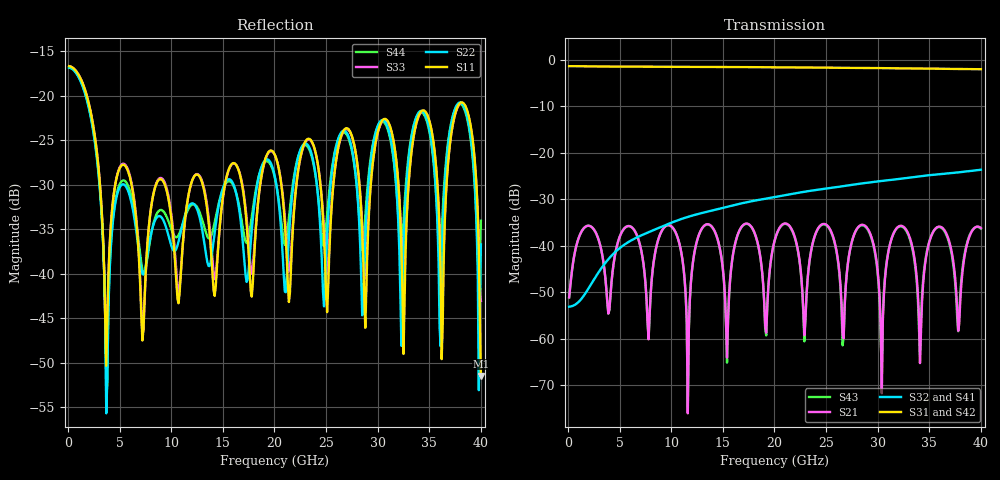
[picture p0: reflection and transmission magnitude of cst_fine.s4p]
! T_ts6_broadside_o5: Broadside: In2 over In3 across the 0.93 mm core, lateral offset 0.5 mm, 20 mm
! stackup: ThunderScope Rev5.3 6-layer (FR408HR / FR-4, from the board file)
! ports: 1 near A, 2 near B, 3 far A, 4 far B
! CST Studio Suite 2025.5 Release from 2025-05-30, time domain (FIT, hexahedral, PBA), 416160 mesh cells, 94 s
! mesh: {'lpw': 30.0, 'lpb': 30.0, 'minstep': 0.0, 'ratio': 20}; ports: port 1 (face); port 2 (face); port 3 (face); port 4 (face)
! interpolated from CST's 1001 samples to the case grid
# Hz S RI R 50
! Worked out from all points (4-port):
!   400 points, 100 MHz to 40 GHz, reference 50 ohm
!   strongest paths, dB at 100 MHz, 10.1 GHz, 20.1 GHz, 30.1 GHz, 40 GHz:
!     S31: -1.4, -1.5, -1.6, -1.8, -2.0
!     S42: -1.4, -1.5, -1.7, -1.9, -2.1
!     S32: -53.1, -35.0, -29.5, -26.2, -23.7
!     S41: -53.1, -35.0, -29.5, -26.2, -23.7
!     S21: -51.1, -36.0, -38.2, -48.0, -36.2
!     S43: -51.1, -36.1, -38.3, -48.7, -36.4
!   lowest |S11| = -51.5 dB at 40 GHz (marker M1), VSWR 1.01, Z = 50.3 - j0.0524 ohm
!   |S11| at or under -10 dB: start of sweep to end of sweep
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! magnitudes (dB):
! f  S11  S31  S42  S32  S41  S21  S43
! 100 MHz  -16.7  -1.4  -1.4  -53.1  -53.1  -51.1  -51.1
! 3.7 GHz  -50.3  -1.5  -1.5  -43.4  -43.5  -49.2  -49.1
! 11.6 GHz  -31.6  -1.5  -1.5  -33.8  -33.8  -76.1  -74.7
! 13.1 GHz  -30.2  -1.5  -1.6  -32.9  -32.9  -35.9  -35.9
! 28.6 GHz  -38.3  -1.8  -1.8  -26.6  -26.6  -35.5  -35.6
! 30.4 GHz  -22.9  -1.8  -1.9  -26.1  -26.1  -71.8  -67.0
! 40 GHz  -51.5  -2.0  -2.1  -23.7  -23.7  -36.2  -36.4
